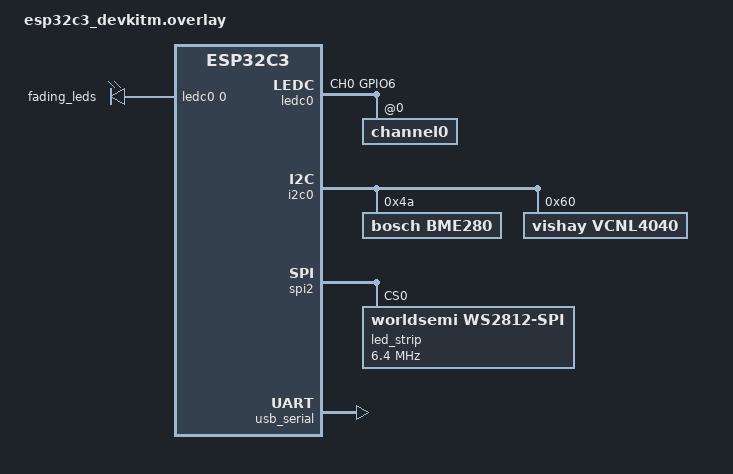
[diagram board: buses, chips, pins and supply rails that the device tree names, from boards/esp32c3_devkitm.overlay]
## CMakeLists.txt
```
cmake_minimum_required(VERSION 3.20.0)

set(CMAKE_CXX_STANDARD 17)
set(CMAKE_CXX_STANDARD_REQUIRED ON)

find_package(Zephyr REQUIRED HINTS $ENV{ZEPHYR_BASE})
project(cpp_synchronization)

include(include/Utils/cmake/utils.cmake)

# Needed for colorful output
zephyr_compile_options(-fdiagnostics-color=always)

# Add the Edge Impulse SDK
add_subdirectory(edge-impulse-sdk/cmake/zephyr)

# include directories
set(INCLUDES
    .
    include
    include/Utils
    include/Drivers
    include/hal
    tflite-model
    model-parameters
    )
include_directories(${INCLUDES})
zephyr_include_directories(${INCLUDES})

# Wildcard append all source files
RECURSIVE_FIND_FILE(CPP_SOURCE_FILES_WILDCARD "src" "*.cpp")
RECURSIVE_FIND_FILE(C_SOURCE_FILES_WILDCARD "src" "*.c")
RECURSIVE_FIND_FILE(MODEL_FILES "tflite-model" "*.cpp")
list(APPEND SOURCE_FILES ${CPP_SOURCE_FILES_WILDCARD})
list(APPEND SOURCE_FILES ${C_SOURCE_FILES_WILDCARD})
list(APPEND SOURCE_FILES ${MODEL_FILES})

# add all sources to the project
target_sources(app PRIVATE ${SOURCE_FILES})
target_sources(app PRIVATE src/main.cpp)
```

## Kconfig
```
# Copyright (c) 2019 Nordic Semiconductor ASA
# SPDX-License-Identifier: Apache-2.0

menu "WS2812 Sample Configuration"

config SAMPLE_LED_UPDATE_DELAY
	int "Delay between LED updates in ms"
	default 500
	help
	  Delay between LED updates in ms.

endmenu

source "Kconfig.zephyr"
```

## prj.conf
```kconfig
#Power management
# CONFIG_PM=y
CONFIG_CONSOLE=y
CONFIG_UART_CONSOLE=y
CONFIG_RTT_CONSOLE=n

#Cpp Configs
CONFIG_CPP=y
CONFIG_LOG=y
CONFIG_LOG_PROCESS_THREAD_STACK_SIZE=4096

# Thread analyzer
CONFIG_THREAD_NAME=y
CONFIG_THREAD_ANALYZER=y
CONFIG_THREAD_ANALYZER_USE_LOG=y
CONFIG_THREAD_ANALYZER_ISR_STACK_USAGE=n
CONFIG_THREAD_ANALYZER_AUTO=n
# CONFIG_THREAD_ANALYZER_AUTO_STACK_SIZE=2048
# CONFIG_THREAD_ANALYZER_AUTO_INTERVAL=10
# CONFIG_THREAD_ANALYZER_USE_PRINTK=y

# CONFIG_REQUIRES_FULL_LIBCPP=y
# CONFIG_STD_CPP17=y

#Zpp Configs
CONFIG_STD_CPP20=y
# CONFIG_NEWLIB_LIBC=y
# CONFIG_NEWLIB_LIBC_NANO=y
# CONFIG_SPEED_OPTIMIZATIONS=y
CONFIG_REQUIRES_FULL_LIBCPP=y

#CONFIG_COMPILER_OPT="-Wall -Wextra -Werror -Wno-error=empty-body -Wno-error=unused-parameter -Wno-error=type-limits -Wno-error=missing-field-initializers -Wno-error=sign-compare -Wno-error=ignored-qualifiers -Wno-error=old-style-declaration -Wno-error=cast-function-type"

# Stacks and Memory
CONFIG_COMMON_LIBC_MALLOC_ARENA_SIZE=8192
CONFIG_MAIN_STACK_SIZE=4096
CONFIG_HEAP_MEM_POOL_SIZE=8192
# CONFIG_LOG_MODE_DEFERRED && !CONFIG_LOG_FRONTEND_ONLY && !CONFIG_LOG_MODE_MINIMAL 
CONFIG_LOG_MODE_DEFERRED=y
CONFIG_LOG_MODE_MINIMAL=n
CONFIG_LOG_BUFFER_SIZE=8192
# CONFIG_SYSTEM_WORKQUEUE_STACK_SIZE=1024

#Bluetooth
CONFIG_BT=y
CONFIG_BT_PERIPHERAL=y
CONFIG_BT_ZEPHYR_NUS=y
CONFIG_BT_EXT_ADV=y
CONFIG_BT_MAX_CONN=1
CONFIG_BT_MAX_PAIRED=1
# Allow for large Bluetooth data packets. from zephyr/samples/subsys/mgmt/mcumgr/smp_svr/overlay-bt.conf /zephyr/samples/subsys/mgmt/mcumgr/smp_svr/prj.conf
CONFIG_BT_L2CAP_TX_MTU=247
CONFIG_BT_BUF_ACL_RX_SIZE=251
CONFIG_BT_BUF_ACL_TX_SIZE=251

#BT Controller not used ?
#BT_CTLR=nBT_CTLR_DATA_LENGTH=n
CONFIG_BT_CTLR_DATA_LENGTH_MAX=251
# Buffers? 
CONFIG_BT_CONN_TX_MAX=10
CONFIG_BT_L2CAP_TX_BUF_COUNT=10
# Updates
CONFIG_BT_CONN_PARAM_UPDATE_TIMEOUT=300
CONFIG_BT_USER_DATA_LEN_UPDATE=y
CONFIG_BT_USER_PHY_UPDATE=y
CONFIG_BT_GATT_CLIENT=y
CONFIG_BT_GAP_AUTO_UPDATE_CONN_PARAMS=n

CONFIG_BT_GAP_PERIPHERAL_PREF_PARAMS=y
CONFIG_BT_PERIPHERAL_PREF_MIN_INT=24
CONFIG_BT_PERIPHERAL_PREF_MAX_INT=40
CONFIG_BT_PERIPHERAL_PREF_LATENCY=0
CONFIG_BT_PERIPHERAL_PREF_TIMEOUT=42

CONFIG_BT_CREATE_CONN_TIMEOUT=3
CONFIG_BT_CONN_PARAM_UPDATE_TIMEOUT=5000
CONFIG_BT_CONN_PARAM_RETRY_COUNT=3
CONFIG_BT_CONN_PARAM_RETRY_TIMEOUT=5000


# Enable time slicing and multithreading
# CONFIG_TIMESLICING=y
# CONFIG_TIMESLICE_SIZE=2
# CONFIG_MULTITHREADING=y

# Disable Bluetooth features not needed
# CONFIG_BT_GATT_CACHING=n

# debug options
# CONFIG_BT_HCI_VS_EXT=n
# CONFIG_BT_DEBUG_LOG=y
# CONFIG_ASSERT=y
# CONFIG_DEBUG_THREAD_INFO=y
# CONFIG_DEBUG_OPTIMIZATIONS=y
# CONFIG_SHELL=y
# CONFIG_SIZE_OPTIMIZATIONS=n
# CONFIG_SPEED_OPTIMIZATIONS=n


CONFIG_BT_COMPANY_ID=0x05F1
CONFIG_PRINTK=y
#PhyInit debugging:
#CONFIG_ESP32_PHY_INIT_DATA_IN_PARTITION=y
CONFIG_WIFI=n

#monitor
# CONFIG_DEBUG=y
# CONFIG_THREAD_MONITOR=y
# CONFIG_SYSTEM_WORKQUEUE_STACK_SIZE=2048

# CONFIG_ISR_STACK_SIZE=32768

# CONFIG_LOG_STACK_SIZE=32768

#LEDs and other i2c Sensors
CONFIG_RING_BUFFER=y #for i2c Wire Port
CONFIG_LED_STRIP=y
CONFIG_LED_STRIP_LOG_LEVEL_DBG=y
CONFIG_GPIO=y
CONFIG_I2C=y
CONFIG_SENSOR=y
CONFIG_VCNL4040_TRIGGER_GLOBAL_THREAD=y
CONFIG_VCNL4040_ENABLE_ALS=y

CONFIG_PWM=y
CONFIG_PWM_LOG_LEVEL_DBG=n

#flash mem
```

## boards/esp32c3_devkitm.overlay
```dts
/*
 * Copyright (c) 2022 Espressif Systems (Shanghai) Co., Ltd.
 *
 * SPDX-License-Identifier: Apache-2.0
 */

#include <zephyr/dt-bindings/led/led.h>
#include <zephyr/dt-bindings/pwm/pwm.h>

&ledc0 {
    pinctrl-0 = <&ledc0_custom>;
    pinctrl-names = "default";
    status = "okay";
    #address-cells = <1>;
    #size-cells = <0>;
    channel0@0 {
      reg = <0x0>;
      timer = <0>;
    };
    // channel9@9 { add only as needed, and you should mirror the amount of channels with the amount of GPIOsss
    //   reg = <0x9>;
    //   timer = <0>;
    // };
    // channel10@a {
    //   reg = <0xa>;
    //   timer = <1>;
    // };
};



&i2c0 {
    status = "okay";
    bme280@4a {
        compatible = "bosch,bme280";
        reg = <0x4a>;
    };

	vcnl4040@60 {
		compatible = "vishay,vcnl4040";
		reg = <0x60>;
		led-current = <200>;
		led-duty-cycle = <320>;
		proximity-it = "8";
		proximity-trigger = "close";
		als-it = <640>;
	};

};
&spi2 {
	/* Workaround to support WS2812 driver */
	line-idle-low;

	led_strip: ws2812@0 {
		compatible = "worldsemi,ws2812-spi";

		/* SPI */
		reg = <0>; /* ignored, but necessary for SPI bindings */
		spi-max-frequency = <6400000>;

		/* WS2812 */
		chain-length = <1>; /* arbitrary; change at will */
		spi-cpha;
		spi-one-frame = <0xf0>; /* 11110000: 625 ns high and 625 ns low */
		spi-zero-frame = <0xc0>; /* 11000000: 312.5 ns high and 937.5 ns low */
		color-mapping = <LED_COLOR_ID_GREEN
				 LED_COLOR_ID_RED
				 LED_COLOR_ID_BLUE>;
	};
};

&pinctrl {
	spim2_default: spim2_default {
		group2 {
			pinmux = <SPIM2_MOSI_GPIO10>;
		};
	};
	
	i2c0_default: i2c0_default {
		group1 {
			pinmux = <I2C0_SDA_GPIO8>,
				 <I2C0_SCL_GPIO9>;
		};
	};
	ledc0_custom:  ledc0_custom {
		group1 {
			 // Mirror to Channel0
				pinmux = <LEDC_CH0_GPIO6>;
				output-enable;
		};
	};
};

/ {
	aliases {
		led-strip = &led_strip;
		buzzer-pwm = &fading_leds;
	};
	
	// /*Nordic example PWM*/
	pwmbuzzer {
		compatible = "pwm-leds";
		fading_leds: fading_leds {
			pwms = <&ledc0 0 PWM_HZ(880) PWM_POLARITY_NORMAL>;
		};
	};
	chosen {
		zephyr,console = &usb_serial;
		zephyr,shell-uart = &usb_serial;
	};
};

/* PWM1 for buzzer control */
// https://docs.zephyrproject.org/latest/build/dts/api/bindings/pwm/espressif%2Cesp32-ledc.html
// ledc0_default: ledc0_default {
// 	group1 {
// 			pinmux = <LEDC_CH0_GPIO0>,
// 					 <LEDC_CH1_GPIO2>,
// 					 <LEDC_CH2_GPIO4>;
// 			output-enable;
// 	};
// };
// &ledc0 {
// 	pinctrl-0 = <&ledc0_default>;
// 	pinctrl-names = "default";
// }


// ledc0: ledc@60019000 {
// 	compatible = "espressif,esp32-ledc";
// 	pwm-controller;
// 	#pwm-cells = <3>;
// 	reg = <0x60019000 0x1000>;
// 	clocks = <&rtc ESP32_LEDC_MODULE>;
// 	status = "disabled";
// };

&usb_serial {
	status = "okay";
};
```

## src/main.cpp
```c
/*
 * Copyright (c) 2015-2016 Wind River Systems, Inc.
 *
 * Licensed under the Apache License, Version 2.0 (the "License");
 * you may not use this file except in compliance with the License.
 * You may obtain a copy of the License at
 *
 *     http://www.apache.org/licenses/LICENSE-2.0
 *
 * Unless required by applicable law or agreed to in writing, software
 * distributed under the License is distributed on an "AS IS" BASIS,
 * WITHOUT WARRANTIES OR CONDITIONS OF ANY KIND, either express or implied.
 * See the License for the specific language governing permissions and
 * limitations under the License.
 */

/**
 * @file C++ Synchronization demo.  Uses basic C++ functionality.
 */

#include <errno.h>
#include <string.h>
#include <stdio.h>

#include <zephyr/kernel.h>
#include <zephyr/arch/cpu.h>
#include <zephyr/sys/printk.h>

#include <zephyr/drivers/led_strip.h>
#include <zephyr/device.h>
#include <zephyr/drivers/spi.h>
#include <zephyr/sys/util.h>

#define LOG_LEVEL 3
#include <zephyr/logging/log.h>
LOG_MODULE_REGISTER(main);

#include <System.hpp>

static uint8_t msgforLEDsBuzzer[] = {CMD_WORKQUEUE_SONG,0x00,0x02,0x01,0x06};

#include <Drivers/EdgeImpulse.hpp>

int main(void)
{
	System::Create(); // check zephyrproject/zephyr/samples/kernel/metairq_dispatch

	uint32_t start = k_cycle_get_32();

	LOG_INF("System Start Timestamp %ul", start);
	// Init Done:
	zpp::this_thread::sleep_for(std::chrono::milliseconds(2000));

	Service::LEDs::Send(msgforLEDsBuzzer);
	Service::IMU::Send(msgforLEDsBuzzer);

	while (1) {

		uint32_t time_now = k_cycle_get_32();
		if( (std::chrono::milliseconds(time_now-start) 
							> std::chrono::milliseconds(5000))
		)
		{
			start = time_now;

			LOG_DBG("System time_now Timestamp %ul", time_now - start);
		}

		EImpulse::Run();
		zpp::this_thread::sleep_for(std::chrono::milliseconds(1000));
	}

	return 0;
}
```

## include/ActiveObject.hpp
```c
#ifndef ACTIVE_OBJECT__H_H
#define ACTIVE_OBJECT__H_H

#include <hal/RTOS.hpp>
//#include <Logger.hpp>

namespace RTOS
{
	// Work in progress: adding concepts to the ActiveObject
	template <typename T>
	concept StaticBinding_Impl = requires (T t) 
	{ 
		{ t.Initialize () } -> std::same_as < void >;
		{ t.Loop () } -> std::same_as < void >;
		{ t.Handle () } -> std::same_as < void >;
		{ t.End () } -> std::same_as < void >;
	};

    template <class D>
    class ActiveObject
    {
    public:
		constexpr ActiveObject() {Create();};
		
		~ActiveObject() = default;

        static constexpr bool Create()
        {
			auto res = mHandle.set_name(mName);
			if(res.has_value() == false)
				return false;
			return RTOS::Hal::TaskCreate(&Run, mName, &mHandle);
        };
        static constexpr void Run(void) noexcept
        {
            D::Initialize();

            while(1)
                Loop();

            D::End();
        };
        static constexpr void Loop()
        {
            if(true == RTOS::Hal::QueueReceive(&mInputQueue, (void*)mReceivedMsg))
                D::Handle(mReceivedMsg);
        };
        static inline void Send(const uint8_t msg[])
        {
            RTOS::Hal::QueueSend(&mInputQueue, msg);
        };
    private:
    protected:

    /**
     *                  Member Variables:
     */
    public:
        static const    char         	mName[];                    /**< The variables used to create the queue */
        static const    uint8_t         mInputQueueItemSize;        /**< The variables used to create the queue */
    protected:
        static          uint8_t         mCountLoops;                /**< The variables used to create the queue */
        static const    uint8_t         mInputQueueItemLength;      /**< The variables used to create the queue */

        
        static const    size_t          mInputQueueSizeBytes;       /**< The variables used to create the queue */
        static          char            mInputQueueAllocation[];    /**< The variables used to create the queue */

        /** 
         * The variable used to hold the queue's data structure. 
         * */
        static          RTOS::QueueHandle_t   mInputQueue;

        /** 
         * The handle used to hold the task for this ActiveObject. 
         * */
        static          RTOS::TaskHandle_t  mHandle;
        static          uint8_t             mReceivedMsg[];
        
        static          zpp::thread_stack   mTaskStack;
        static          zpp::thread_data    mTaskControlBlock;

    };

}
#endif
```

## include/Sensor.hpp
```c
/*
 * Copyright (c) 2024 fcarraustewart, SAS.
 *
 */
#ifndef _________SERVICE_SENSOR_H____________
#define _________SERVICE_SENSOR_H____________
#include <zephyr/sys/util.h>

#include <zephyr/device.h>
#include <zephyr/drivers/sensor.h>
#include <zephyr/drivers/i2c.h>

namespace Service {
    class Sensor {
        public:
        static int init(void);
        static int send(void);
    };

	static const struct device *const mVCNL = DEVICE_DT_GET_ONE(vishay_vcnl4040);
}
#endif //_________SERVICE_SENSOR_H____________
```

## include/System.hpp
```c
#ifndef __SYSTEM__H
#define __SYSTEM__H
#include <variant>
#include <vector>
#include <Services/LoRa.hpp>
#include <Services/HardwareTimers.hpp>
#include <Services/BLE.hpp>
#include <Services/LEDs.hpp>
#include <Services/Sensor.hpp>
#include <Services/IMU.hpp>

#include <Utils/overload.hpp>

class System {
#define _REGISTERED_SERVICES    std::monostate, Service::LoRa,  Service::HardwareTimers,    Service::BLE,   Service::LEDs,   Service::Sensor,       Service::IMU
#define REGISTERED_SERVICES     Service::LoRa{}, Service::HardwareTimers{}, Service::BLE{}, Service::LEDs{},   Service::Sensor{},   Service::IMU{}
public:
    static std::vector<std::variant<_REGISTERED_SERVICES>> mSystemServicesRegistered;
public:
	constexpr System() {};	
    static constexpr void Create()
    {            
            /**
             * @brief
             *
             * Variants templates indicate types that the variable variant can take.
             * Overload indicates the lambda done as operator() to each of the types you are interested in.
             * visit uses the operator() on the correct type that was loaded to the variant at the time visit is used.
             *
             *
             */
            //LOG_INF("mSystemServicesRegistered Address a pointer at = 0x%08x", (unsigned int)&mSystemServicesRegistered);
            // Remember you can do mSystemServicesRegistered.push_back(); for each service here.
            //using my_variant = std::variant<_REGISTERED_SERVICES>;
            for (auto &v : mSystemServicesRegistered)
            {
                //LOG_INF("Testing Create()");
                std::visit( 
                    overload{
                        /*
                            One of these lambdas 
                            will be called for 
                            each type 
                            in mSystemServicesRegistered.
                        */
                        [](const std::monostate &x)
                        {
                            // LOG_INF("Initializing: %s", x.mName);
                            // LOG_INF("Address a pointer at = 0x%08x", (unsigned int)&x);
                        },
                        [](const Service::BLE &x)
                        {
                            if(false == true)
								while(1){RTOS::Hal::Delay(1000);};
                            // LOG_INF("Initializing: %s", x.mName);
                            // LOG_INF("Address a pointer at = 0x%08x", (unsigned int)&x);
                        },
                        [](const Service::IMU &x)
                        {
                            if(false == true)
								while(1){RTOS::Hal::Delay(1000);};
                            // LOG_INF("Initializing: %s", x.mName);
                            // LOG_INF("Address a pointer at = 0x%08x", (unsigned int)&x);
                        },
                        [](const Service::LEDs &x)
                        {
                            if(false == true)
								while(1){RTOS::Hal::Delay(1000);};
                            // LOG_INF("Initializing: %s", x.mName);
                            // LOG_INF("Address a pointer at = 0x%08x", (unsigned int)&x);
                        },
                        [](const Service::Sensor &x)
                        {
                            if(false == true)
								while(1){RTOS::Hal::Delay(1000);};
                            // LOG_INF("Initializing: %s", x.mName);
                            // LOG_INF("Address a pointer at = 0x%08x", (unsigned int)&x);
                        },
                        [](const Service::LoRa &x)
                        {
                            if(false == true)
								while(1){RTOS::Hal::Delay(1000);};
                            // LOG_INF("Initializing: %s", x.mName);
                            // LOG_INF("Address a pointer at = 0x%08x", (unsigned int)&x);
                        },
                        [](const Service::HardwareTimers &x)
                        {
                            if(false == true)
								while(1){RTOS::Hal::Delay(1000);};
                            // LOG_INF("Initializing: %s", x.mName);
                            // LOG_INF("Address a pointer at = 0x%08x", (unsigned int)&x);
                        }
                        
                    },
                v);



                // std::visit([](auto &&arg) -> my_variant { 
                //     using T = std::decay_t<decltype(arg)>;
                //     if constexpr (std::is_same_v<std::monostate, T>) {
                //         return; // arg is std::monostate here
                //     }
                //     else if constexpr (std::is_same_v<Service::LoRa, T>) {
                //         return; // arg is A here
                //     }
                //     else if constexpr (std::is_same_v<Service::BLE, T>) {
                //         return; // arg is B here
                //     }
                //     else if constexpr (std::is_same_v<Service::HardwareTimers, T>) {
                //         return; // arg is B here
                //     }
                //     else if constexpr (std::is_same_v<Service::IMU, T>) {
                //         return; // arg is B here
                //     }
                //     else if constexpr (std::is_same_v<Service::LEDs, T>) {
                //         return; // arg is B here
                //     }
                //     else if constexpr (std::is_same_v<Service::Sensor, T>) {
                //         return; // arg is B here
                //     }
                // }, v);

            }
    };
};


#endif
```

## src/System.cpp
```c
#include <System.hpp>

// Check if needed. May be removed.
// TODO: Check if the constructors are being prbly called without constexpr.
std::vector<std::variant<_REGISTERED_SERVICES>> 
    System::mSystemServicesRegistered = {
        REGISTERED_SERVICES
    };
```
